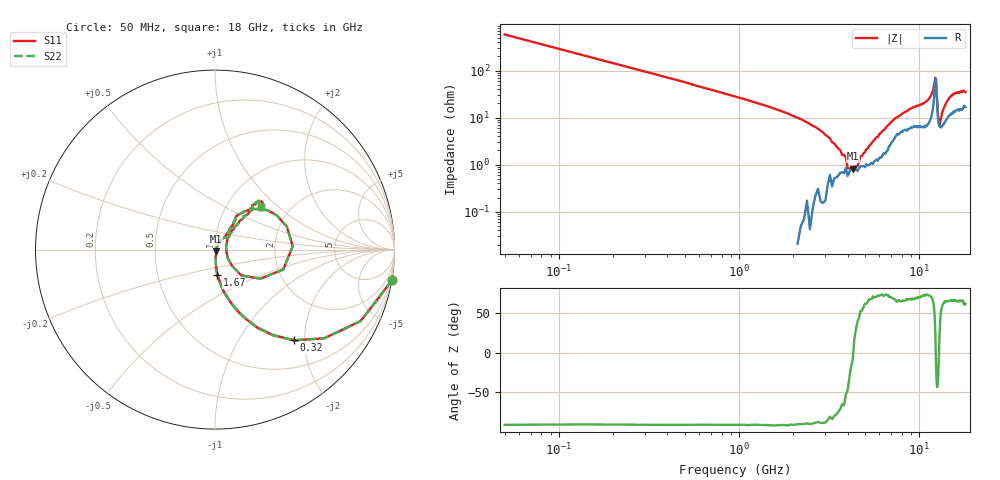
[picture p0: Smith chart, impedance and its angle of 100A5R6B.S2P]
!  American Technical Ceramics  Date:  3/13/98
!  One Norden Lane
!  Huntington Station,  NY.  11746-2102
!  Tel:  (516) 547-5700  Fax:  (516) 547-5748
!  Part Number  100A5R6B
!  Description: Porcelain, High Q, Low ESR
!  Application: Bypass, Coupling, Timing, Feedback
!  Tuning, Impedance Match, Blocking
# GHZ S DB R 50
! Freq  |S11|  S11 Ph  |S21|  S21 Ph  |S12|  S12 Ph  |S22|  S22 Ph
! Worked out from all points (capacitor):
!   201 points, 50 MHz to 18 GHz, reference 50 ohm
!   read as one part in series: C = 5.51 pF near 140 MHz
!   lowest |Z| = 827 mohm at 4.27 GHz (marker M1)
!   series resonance near 4.299 GHz, so ESL is about 250 pH
!   S11 on the Smith chart (normalised r, x): 50 MHz: -0, -12; 320 MHz: 0.97, -1.78; 1.67 GHz: 0.99, -0.29; 18 GHz: 1.45, +0.78
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0.05  0.01 -9.8  -15.32 80.7  -15.32 80.7  0.01 -9.8
0.14  -0.88 -26.1  -7.18 63.9  -7.18 63.9  -0.88 -26.1
0.32  -3.47 -48.9  -2.51 41.5  -2.51 41.5  -3.47 -48.9
0.5  -6.07 -61.4  -1.19 29.4  -1.19 29.4  -6.07 -61.4
0.77  -9.55 -71.9  -0.51 19.4  -0.51 19.4  -9.55 -71.9
1.67  -16.87 -84.5  -0.11 8.0  -0.11 8.0  -16.87 -84.5
3.1  -27.81 -84.4  -0.05 2.2  -0.05 2.2  -27.81 -84.4
4.27  -39.01 -51.2  -0.08 -0.4  -0.08 -0.4  -39.01 -51.2
4.81  -41.89 2.4  -0.09 -1.4  -0.09 -1.4  -41.89 2.4
6.06  -30.54 58.8  -0.13 -3.5  -0.13 -3.5  -30.54 58.8
7.23  -21.74 53.5  -0.24 -5.4  -0.24 -5.4  -21.74 53.5
9.03  -15.48 54.3  -0.40 -6.9  -0.40 -6.9  -15.48 54.3
11.45  -11.50 52.9  -0.63 -12.4  -0.63 -12.4  -11.50 52.9
12.08  -8.11 29.1  -2.05 -19.6  -2.05 -19.6  -8.11 29.1
12.26  -7.26 2.6  -4.17 -15.0  -4.17 -15.0  -7.26 2.6
12.35  -8.04 -16.3  -4.61 -1.9  -4.61 -1.9  -8.04 -16.3
12.53  -13.75 -44.5  -2.07 7.8  -2.07 7.8  -13.75 -44.5
12.7  -21.49 -33.3  -0.91 3.6  -0.91 3.6  -21.49 -33.3
12.79  -23.86 -7.7  -0.72 1.6  -0.72 1.6  -23.86 -7.7
13.69  -15.08 48.5  -0.43 -6.9  -0.43 -6.9  -15.08 48.5
15.04  -10.34 49.2  -0.75 -10.6  -0.75 -10.6  -10.34 49.2
18  -9.10 42.5  -1.02 -12.5  -1.02 -12.5  -9.10 42.5
